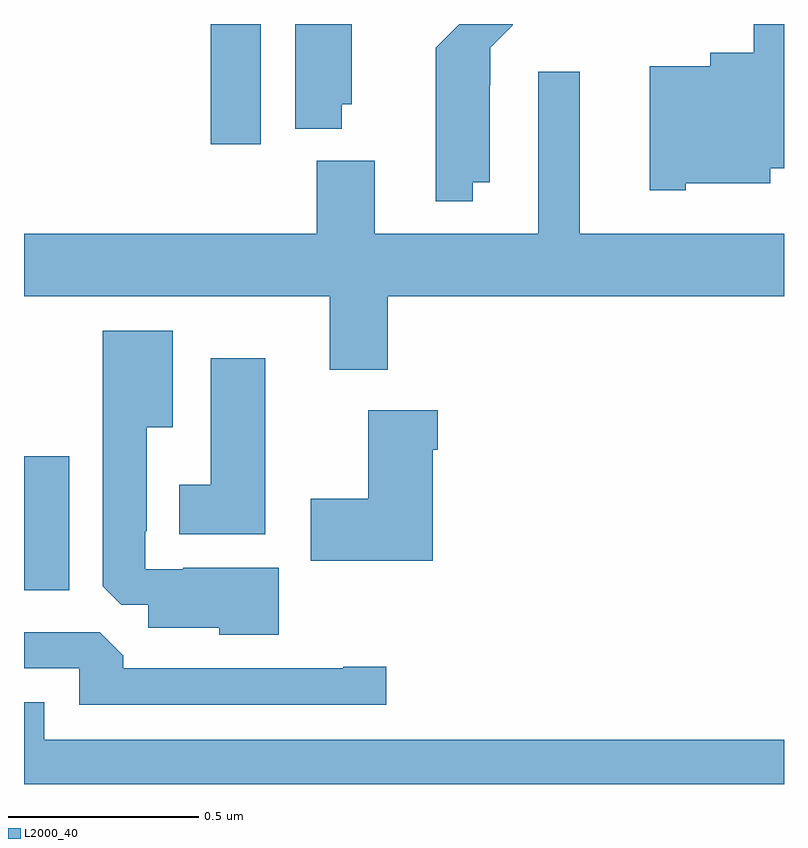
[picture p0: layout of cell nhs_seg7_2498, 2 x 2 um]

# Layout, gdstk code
import gdstk
lib = gdstk.Library(unit=1e-6, precision=1e-09)
def R(c, l, rs):  # rectangles x0, y0, x1, y1
    for r in rs: c.add(gdstk.rectangle(r[:2], r[2:], *l))
def P(c, l, *ps):  # polygons
    for p in ps: c.add(gdstk.Polygon(p, *l))
L2000_40 = (2000, 40)

nhs_seg7_2498 = lib.new_cell('nhs_seg7_2498')
R(nhs_seg7_2498, L2000_40, [(146,998.51,146.119,998.863), (146.492,999.684,146.623,1000)])
P(nhs_seg7_2498, L2000_40, [(146.836,999.789),(146.863,999.789),(146.863,1000),(146.714,1000),(146.714,999.725),(146.836,999.725)],
  [(147.181,999.584),(147.226,999.584),(147.226,999.839),(147.227,999.839),(147.227,999.938),(147.286,999.997),(147.286,1000),(147.145,1000),(147.083,999.938),(147.083,999.836),(147.084,999.836),(147.084,999.533),(147.181,999.533)],
  [(147.741,999.581),(147.964,999.581),(147.964,999.62),(148,999.62),(148,1000),(147.921,1000),(147.921,999.925),(147.806,999.925),(147.806,999.889),(147.647,999.889),(147.647,999.563),(147.741,999.563)],
  [(146.957,999.284),(148,999.284),(148,999.448),(147.463,999.448),(147.463,999.874),(147.353,999.874),(147.353,999.448),(146.923,999.448),(146.923,999.64),(146.771,999.64),(146.771,999.448),(146,999.448),(146,999.284),(146.804,999.284),(146.804,999.09),(146.957,999.09)],
  [(146.671,998.569),(146.419,998.569),(146.419,998.565),(146.319,998.565),(146.319,998.665),(146.323,998.665),(146.323,998.939),(146.392,998.939),(146.392,999.193),(146.207,999.193),(146.207,998.521),(146.256,998.472),(146.327,998.472),(146.327,998.411),(146.514,998.411),(146.514,998.393),(146.671,998.393)],
  [(146.635,999.121),(146.492,999.121),(146.492,998.788),(146.408,998.788),(146.408,998.657),(146.635,998.657)],
  [(147.076,998.879),(147.089,998.879),(147.089,998.983),(146.906,998.983),(146.906,998.751),(146.754,998.751),(146.754,998.588),(147.076,998.588)],
  [(146.953,998.309),(146.84,998.309),(146.84,998.304),(146.261,998.304),(146.261,998.338),(146.199,998.4),(146,998.4),(146,998.304),(146.145,998.304),(146.145,998.208),(146.953,998.208)],
  [(148,998.116),(146.053,998.116),(146.053,998.215),(146,998.215),(146,998),(148,998)])

lib.write_gds('nhs_seg7_2498.gds')
